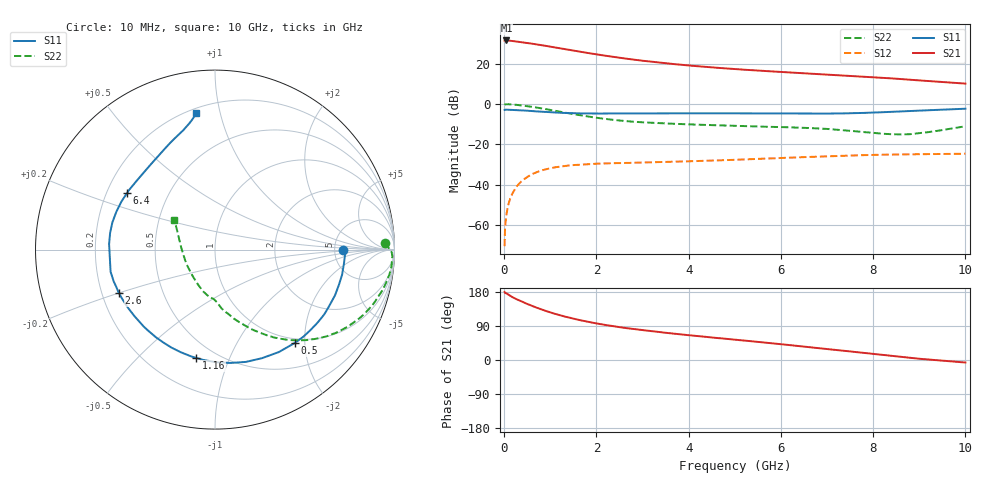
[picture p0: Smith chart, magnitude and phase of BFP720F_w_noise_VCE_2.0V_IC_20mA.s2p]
! Infineon Technologies  Discrete & RF Semiconductors
! BFP720F
! VCE =  2.0 V,  IC =  20 mA
! Common Emitter S-Parameters:  Jan 2016
# GHz  S  MA  R  50
!  f  S11  S21  S12  S22
! GHz  MAG  ANG  MAG  ANG  MAG  ANG  MAG  ANG
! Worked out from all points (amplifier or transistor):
!   233 points, 10 MHz to 10 GHz, reference 50 ohm
!   highest |S21| = 31.5 dB at 50 MHz (marker M1)
!   |S21| within 3 dB of that: start of sweep to 982.5 MHz
!   unconditionally stable (mu >= 1): start of sweep to 14.94 MHz; 5.407 GHz to end of sweep
!   at 200 MHz: K = 0.10, MSG = 37.3 dB, |S12| = -43.5 dB
!   at 1.74 GHz: K = 0.45, MSG = 27.7 dB, |S12| = -29.9 dB
!   at 10 GHz: K = 1.21, MAG = 14.6 dB, |S12| = -24.6 dB
!   lowest NFmin = 0.86 dB at 450 MHz
!   S11 on the Smith chart (normalised r, x): 10 MHz: 6.01, -0.12; 500 MHz: 0.92, -1.80; 1.16 GHz: 0.39, -0.76; 2.6 GHz: 0.27, -0.20; 6.4 GHz: 0.28, +0.27; 10 GHz: 0.23, +0.85
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0.01  0.7149 -0.4  37.24 179.4  0.0003 31.6  0.9487 2.3
0.02  0.7252 -1.9  37.56 177.1  0.0009 95.4  0.9849 -0.9
0.05  0.7231 -5.4  37.73 175.8  0.0018 93.6  0.9887 -2.2
0.1  0.7226 -10.6  37.57 171.8  0.0035 84.6  0.9884 -5.2
0.15  0.7178 -15.9  36.83 168.0  0.0051 82.2  0.9818 -8.1
0.24  0.7108 -24.9  35.8 162.1  0.008 78.2  0.9635 -12.9
0.4  0.6952 -40.4  33.79 153.1  0.0128 71.1  0.9201 -21.0
0.5  0.6844 -49.4  32.54 148.0  0.0156 66.8  0.8905 -25.5
0.6  0.6725 -58.1  31.47 143.0  0.0181 62.8  0.8562 -30.0
0.8  0.6489 -74.6  28.98 133.8  0.0224 55.7  0.7871 -37.9
1  0.6277 -89.4  26.5 125.6  0.0256 49.5  0.7157 -44.8
1.16  0.6122 -99.9  24.66 119.9  0.0277 45.4  0.6626 -49.6
1.42  0.5959 -115.1  21.95 111.4  0.0301 39.8  0.5851 -56.5
1.68  0.5862 -127.8  19.57 104.2  0.0318 35.6  0.5194 -62.2
2.14  0.5825 -144.3  16.14 93.6  0.0336 30.5  0.4358 -70.4
2.6  0.5878 -155.8  13.56 84.9  0.0346 27.4  0.3812 -76.6
3.4  0.5936 -166.9  10.56 73.3  0.0366 25.6  0.3347 -82.9
5.1  0.5904 163.9  7.238 52.5  0.0419 24.6  0.2857 -89.3
6.4  0.5828 147.0  5.898 36.6  0.0478 22.4  0.2605 -98.4
6.8  0.5805 140.6  5.554 31.6  0.0497 21.3  0.2482 -103.1
8.4  0.6427 113.2  4.33 10.7  0.056 14.9  0.1789 -148.9
10  0.7664 97.8  3.214 -6.7  0.0587 9.3  0.2814 143.6
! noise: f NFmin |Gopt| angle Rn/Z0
0.45  0.86  0.16  0  0.43
0.9  0.89  0.09  -6  0.15
1.8  0.92  0.07  -52  0.15
2.4  0.94  0.08  -58  0.15
5.5  1.06  0.08  -60  0.14
10  1.24  0.38  -81  0.26
